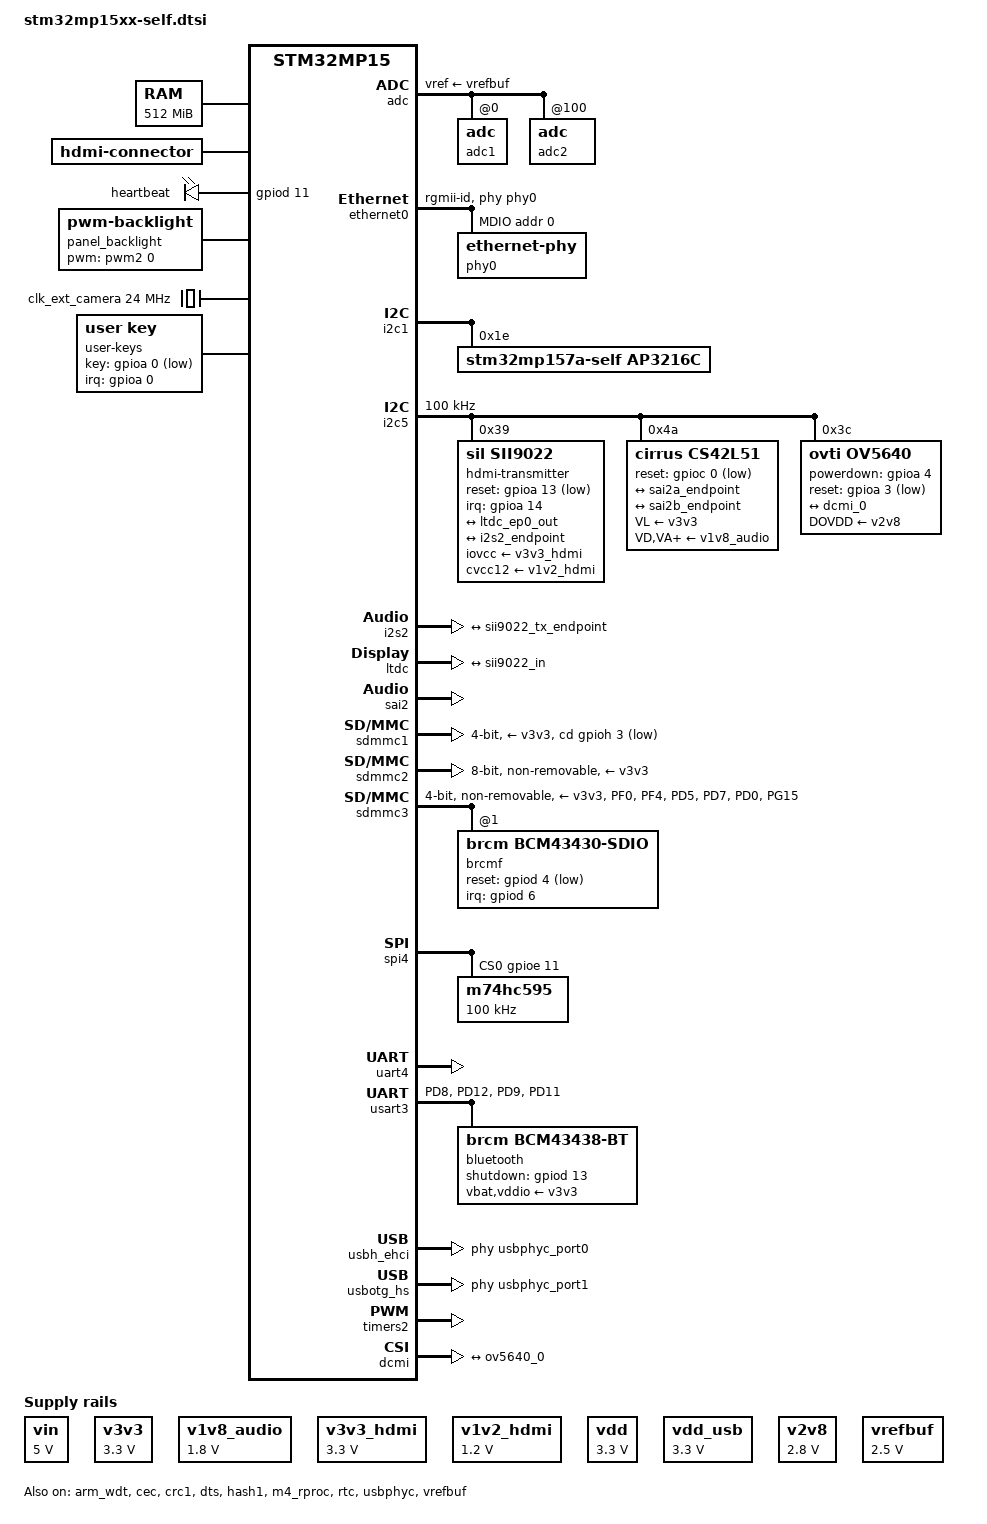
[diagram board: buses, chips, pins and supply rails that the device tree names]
// SPDX-License-Identifier: (GPL-2.0+ OR BSD-3-Clause)
/*
 * Copyright (C) STMicroelectronics 2019 - All Rights Reserved
 * Author: Alexandre Torgue <alexandre.torgue@st.com> for STMicroelectronics.
 */

#include <dt-bindings/gpio/gpio.h>
#include <dt-bindings/mfd/st,stpmic1.h>
#include "stm32mp15-m4-srm.dtsi"
#include "stm32mp15-m4-srm-pinctrl.dtsi"
#include <dt-bindings/rtc/rtc-stm32.h>
/ {
	aliases {
		ethernet0 = &ethernet0;
		serial0 = &uart4;
		serial1 = &usart3;
		serial2 = &uart7;
		serial5 = &usart3;
	};

	memory@c0000000 {
		device_type = "memory";
		reg = <0xc0000000 0x20000000>;
	};

	reserved-memory {
		#address-cells = <1>;
		#size-cells = <1>;
		ranges;

		mcuram2: mcuram2@10000000 {
			compatible = "shared-dma-pool";
			reg = <0x10000000 0x40000>;
			no-map;
		};

		vdev0vring0: vdev0vring0@10040000 {
			compatible = "shared-dma-pool";
			reg = <0x10040000 0x1000>;
			no-map;
		};

		vdev0vring1: vdev0vring1@10041000 {
			compatible = "shared-dma-pool";
			reg = <0x10041000 0x1000>;
			no-map;
		};

		vdev0buffer: vdev0buffer@10042000 {
			compatible = "shared-dma-pool";
			reg = <0x10042000 0x4000>;
			no-map;
		};

		mcu_rsc_table: mcu-rsc-table@10048000 {
			compatible = "shared-dma-pool";
			reg = <0x10048000 0x8000>;
			no-map;
		};

		mcuram: mcuram@30000000 {
			compatible = "shared-dma-pool";
			reg = <0x30000000 0x40000>;
			no-map;
		};

		retram: retram@38000000 {
			compatible = "shared-dma-pool";
			reg = <0x38000000 0x10000>;
			no-map;
		};

		gpu_reserved: gpu@d4000000 {
			reg = <0xd4000000 0x4000000>;
			no-map;
		};
	};

	hdmi: connector {
		compatible = "hdmi-connector";
		label = "hdmi";

		type = "a";
	};

	led {
		compatible = "gpio-leds";
		led-blue {
			label = "heartbeat";
			gpios = <&gpiod 11 GPIO_ACTIVE_HIGH>;
			linux,default-trigger = "heartbeat";
			default-state = "off";
		};
	};

	sound {
		compatible = "audio-graph-card";
		label = "STM32MP15-SELF";
		routing =
			"Playback" , "MCLK",
			"Capture" , "MCLK",
			"MICL" , "Mic Bias";
		dais = <&sai2a_port &sai2b_port &i2s2_port>;
		status = "okay";
	};

	usb_phy_tuning: usb-phy-tuning {
		st,hs-dc-level = <2>;
		st,fs-rftime-tuning;
		st,hs-rftime-reduction;
		st,hs-current-trim = <15>;
		st,hs-impedance-trim = <1>;
		st,squelch-level = <3>;
		st,hs-rx-offset = <2>;
		st,no-lsfs-sc;
	};

	vin: vin {
		compatible = "regulator-fixed";
		regulator-name = "vin";
		regulator-min-microvolt = <5000000>;
		regulator-max-microvolt = <5000000>;
		regulator-always-on;
	};

	v3v3: regulator-3p3v {
		compatible = "regulator-fixed";
		regulator-name = "v3v3";
		regulator-min-microvolt = <3300000>;
		regulator-max-microvolt = <3300000>;
		regulator-always-on;
		regulator-boot-on;
	};

	v1v8_audio: regulator-v1v8-audio {
		compatible = "regulator-fixed";
		regulator-name = "v1v8_audio";
		regulator-min-microvolt = <1800000>;
		regulator-max-microvolt = <1800000>;
		regulator-always-on;
		regulator-boot-on;
	};

	v3v3_hdmi: regulator-v3v3-hdmi {
   		compatible = "regulator-fixed";
   		regulator-name = "v3v3_hdmi";
   		regulator-min-microvolt = <3300000>;
   		regulator-max-microvolt = <3300000>;
   		regulator-always-on;
		regulator-boot-on;
	};

	v1v2_hdmi: regulator-v1v2-hdmi {
		compatible = "regulator-fixed";
		regulator-name = "v1v2_hdmi";
		regulator-min-microvolt = <1200000>;
		regulator-max-microvolt = <1200000>;
		regulator-always-on;
		regulator-boot-on;
	};

	vdd: regulator-vdd {
		compatible = "regulator-fixed";
		regulator-name = "vdd";
		regulator-min-microvolt = <3300000>;
		regulator-max-microvolt = <3300000>;
		regulator-always-on;
		regulator-boot-on;
	};

	vdd_usb: regulator-vdd-usb {
		compatible = "regulator-fixed";
		regulator-name = "vdd_usb";
		regulator-min-microvolt = <3300000>;
		regulator-max-microvolt = <3300000>;
		regulator-always-on;
		regulator-boot-on;
	};

	panel_backlight: panel-backlight {
		compatible = "pwm-backlight";
		pwms = <&pwm2 0 5000000>;
		brightness-levels = <0 4 8 16 32 64 128 255>;
		default-brightness-level = <6>;
		status = "okay";
	};

	v2v8: regulator-2p8v {
		compatible = "regulator-fixed";
		regulator-name = "v2v8";
		regulator-min-microvolt = <2800000>;
		regulator-max-microvolt = <2800000>;
		regulator-always-on;
		regulator-boot-on;
	};

	clocks {
		clk_ext_camera: clk-ext-camera {
			#clock-cells = <0>;
			compatible = "fixed-clock";
			clock-frequency = <24000000>;
		};
	};

	main-leds {
		compatible = "gpio-main-leds";

		led_1 {
			label = "led1";
			gpios = <&gpioz 5 GPIO_ACTIVE_HIGH>;
			default-state = "off";
		};

		led_2 {
			label = "led2";
			gpios = <&gpioz 6 GPIO_ACTIVE_HIGH>;
			default-state = "off";
		};

		led_3 {
			label = "led3";
			gpios = <&gpioz 7 GPIO_ACTIVE_HIGH>;
			default-state = "off";
		};
	};

	ext-leds {
		compatible = "gpio-ext-leds";

		led_4 {
			label = "led4";
			gpios = <&gpioe 10 GPIO_ACTIVE_HIGH>;
			default-state = "off";
		};

		led_5 {
			label = "led5";
			gpios = <&gpiof 10 GPIO_ACTIVE_HIGH>;
			default-state = "off";
		};

		led_6 {
			label = "led6";
			gpios = <&gpioe 8 GPIO_ACTIVE_HIGH>;
			default-state = "off";
		};
	};

	user-keys {
		compatible = "user key";
		status = "okay";
		
		key-gpio = <&gpioa 0 GPIO_ACTIVE_LOW>;
		interrupts-extended = <&gpioa 0 IRQ_TYPE_EDGE_BOTH>;
	};

};

&adc {
	pinctrl-names = "default";
	pinctrl-0 = <&adc12_usb_cc_pins_a>;
	vdd-supply = <&vdd>;
	vdda-supply = <&vdd>;
	vref-supply = <&vrefbuf>;
	status = "okay";
	adc1: adc@0 {
		status = "okay";
		/*
		 * Type-C USB_PWR_CC1 & USB_PWR_CC2 on in18 & in19.
		 * Use at least 5 * RC time, e.g. 5 * (Rp + Rd) * C:
		 * 5 * (56 + 47kOhms) * 5pF => 2.5us.
		 * Use arbitrary margin here (e.g. 5us).
		 */
		channel@18 {
			reg = <18>;
			st,min-sample-time-ns = <5000>;
		};
		channel@19 {
			reg = <19>;
			st,min-sample-time-ns = <5000>;
		};
	};

	adc2: adc@100 {
		status = "okay";
		/* USB Type-C CC1 & CC2 */
		channel@18 {
			reg = <18>;
			st,min-sample-time-ns = <5000>;
		};
		channel@19 {
			reg = <19>;
			st,min-sample-time-ns = <5000>;
		};
	};
};

&arm_wdt {
	timeout-sec = <32>;
	status = "okay";
};

&cec {
	pinctrl-names = "default", "sleep";
	pinctrl-0 = <&cec_pins_b>;
	pinctrl-1 = <&cec_sleep_pins_b>;
	status = "okay";
};

// &cpu0 {
// 	cpu-supply = <&vddcore>;
// };

// &cpu1 {
// 	cpu-supply = <&vddcore>;
// };

&crc1 {
	status = "okay";
};

&dts {
	status = "okay";
};

&ethernet0 {
	status = "okay";
	pinctrl-0 = <&ethernet0_rgmii_pins_a>;
	pinctrl-1 = <&ethernet0_rgmii_sleep_pins_a>;
	pinctrl-names = "default", "sleep";
	phy-mode = "rgmii-id";
	max-speed = <1000>;
	phy-handle = <&phy0>;
	// nvmem-cells = <&ethernet_mac_address>;
	// nvmem-cell-names = "mac-address";

	mdio {
		#address-cells = <1>;
		#size-cells = <0>;
		compatible = "snps,dwmac-mdio";
		phy0: ethernet-phy@0 {
			reg = <0>;
		};
	};
};

&gpu {
	contiguous-area = <&gpu_reserved>;
};

&hash1 {
	status = "okay";
};

&i2c1 {
	pinctrl-names = "default", "sleep";
	pinctrl-0 = <&i2c1_pins_b>;
	pinctrl-1 = <&i2c1_sleep_pins_b>;
	i2c-scl-rising-time-ns = <100>;
	i2c-scl-falling-time-ns = <7>;
	status = "okay";
	/delete-property/dmas;
	/delete-property/dma-names;

	ap3216c@1e {
		compatible = "stm32mp157a-self,ap3216c";
		reg = <0x1e>;
	};


};

// &i2c4 {
// 	pinctrl-names = "default", "sleep";
// 	pinctrl-0 = <&i2c4_pins_a>;
// 	pinctrl-1 = <&i2c4_sleep_pins_a>;
// 	i2c-scl-rising-time-ns = <185>;
// 	i2c-scl-falling-time-ns = <20>;
// 	clock-frequency = <400000>;
// 	status = "okay";
// 	/* spare dmas for other usage */
// 	/delete-property/dmas;
// 	/delete-property/dma-names;

// 	stusb1600@28 {
// 		compatible = "st,stusb1600";
// 		reg = <0x28>;
// 		interrupts = <11 IRQ_TYPE_LEVEL_LOW>;
// 		interrupt-parent = <&gpioi>;
// 		pinctrl-names = "default";
// 		pinctrl-0 = <&stusb1600_pins_a>;
// 		status = "okay";
// 		vdd-supply = <&vin>;

// 		connector {
// 			compatible = "usb-c-connector";
// 			label = "USB-C";
// 			power-role = "dual";
// 			typec-power-opmode = "default";

// 			port {
// 				con_usbotg_hs_ep: endpoint {
// 					remote-endpoint = <&usbotg_hs_ep>;
// 				};
// 			};
// 		};
// 	};

// 	pmic: stpmic@33 {
// 		compatible = "st,stpmic1";
// 		reg = <0x33>;
// 		interrupts-extended = <&exti 55 IRQ_TYPE_EDGE_FALLING>;
// 		interrupt-controller;
// 		#interrupt-cells = <2>;
// 		status = "okay";

// 		regulators {
// 			compatible = "st,stpmic1-regulators";
// 			buck1-supply = <&vin>;
// 			buck2-supply = <&vin>;
// 			buck3-supply = <&vin>;
// 			buck4-supply = <&vin>;
// 			ldo1-supply = <&v3v3>;
// 			ldo2-supply = <&vin>;
// 			ldo3-supply = <&vdd_ddr>;
// 			ldo4-supply = <&vin>;
// 			ldo5-supply = <&vin>;
// 			ldo6-supply = <&v3v3>;
// 			vref_ddr-supply = <&vin>;
// 			boost-supply = <&vin>;
// 			pwr_sw1-supply = <&bst_out>;
// 			pwr_sw2-supply = <&bst_out>;

// 			vddcore: buck1 {
// 				regulator-name = "vddcore";
// 				regulator-min-microvolt = <1200000>;
// 				regulator-max-microvolt = <1350000>;
// 				regulator-always-on;
// 				regulator-initial-mode = <0>;
// 				regulator-over-current-protection;
// 			};

// 			vdd_ddr: buck2 {
// 				regulator-name = "vdd_ddr";
// 				regulator-min-microvolt = <1350000>;
// 				regulator-max-microvolt = <1350000>;
// 				regulator-always-on;
// 				regulator-initial-mode = <0>;
// 				regulator-over-current-protection;
// 			};

// 			vdd: buck3 {
// 				regulator-name = "vdd";
// 				regulator-min-microvolt = <3300000>;
// 				regulator-max-microvolt = <3300000>;
// 				regulator-always-on;
// 				st,mask-reset;
// 				regulator-initial-mode = <0>;
// 				regulator-over-current-protection;
// 			};

// 			v3v3: buck4 {
// 				regulator-name = "v3v3";
// 				regulator-min-microvolt = <3300000>;
// 				regulator-max-microvolt = <3300000>;
// 				regulator-always-on;
// 				regulator-over-current-protection;
// 				regulator-initial-mode = <0>;
// 			};

// 			v1v8_audio: ldo1 {
// 				regulator-name = "v1v8_audio";
// 				regulator-min-microvolt = <1800000>;
// 				regulator-max-microvolt = <1800000>;
// 				regulator-always-on;
// 				interrupts = <IT_CURLIM_LDO1 0>;
// 			};

// 			v3v3_hdmi: ldo2 {
// 				regulator-name = "v3v3_hdmi";
// 				regulator-min-microvolt = <3300000>;
// 				regulator-max-microvolt = <3300000>;
// 				regulator-always-on;
// 				interrupts = <IT_CURLIM_LDO2 0>;
// 			};

// 			vtt_ddr: ldo3 {
// 				regulator-name = "vtt_ddr";
// 				regulator-min-microvolt = <500000>;
// 				regulator-max-microvolt = <750000>;
// 				regulator-always-on;
// 				regulator-over-current-protection;
// 			};

// 			vdd_usb: ldo4 {
// 				regulator-name = "vdd_usb";
// 				interrupts = <IT_CURLIM_LDO4 0>;
// 			};

// 			vdda: ldo5 {
// 				regulator-name = "vdda";
// 				regulator-min-microvolt = <2900000>;
// 				regulator-max-microvolt = <2900000>;
// 				interrupts = <IT_CURLIM_LDO5 0>;
// 				regulator-boot-on;
// 			};

// 			v1v2_hdmi: ldo6 {
// 				regulator-name = "v1v2_hdmi";
// 				regulator-min-microvolt = <1200000>;
// 				regulator-max-microvolt = <1200000>;
// 				regulator-always-on;
// 				interrupts = <IT_CURLIM_LDO6 0>;
// 			};

// 			vref_ddr: vref-ddr {
// 				regulator-name = "vref_ddr";
// 				regulator-always-on;
// 			};

// 			bst_out: boost {
// 				regulator-name = "bst_out";
// 				interrupts = <IT_OCP_BOOST 0>;
// 			};

// 			vbus_otg: pwr-sw1 {
// 				regulator-name = "vbus_otg";
// 				interrupts = <IT_OCP_OTG 0>;
// 			};

// 			vbus_sw: pwr-sw2 {
// 				regulator-name = "vbus_sw";
// 				interrupts = <IT_OCP_SWOUT 0>;
// 				regulator-active-discharge = <1>;
// 			};
// 		};

// 		onkey {
// 			compatible = "st,stpmic1-onkey";
// 			interrupts = <IT_PONKEY_F 0>, <IT_PONKEY_R 0>;
// 			interrupt-names = "onkey-falling", "onkey-rising";
// 			power-off-time-sec = <10>;
// 			status = "okay";
// 		};

// 		watchdog {
// 			compatible = "st,stpmic1-wdt";
// 			status = "disabled";
// 		};
// 	};
// };

&i2c5 {
	pinctrl-names = "default", "sleep";
	pinctrl-0 = <&i2c5_pins_a>;
	pinctrl-1 = <&i2c5_sleep_pins_a>;
	i2c-scl-rising-time-ns = <100>;
	i2c-scl-falling-time-ns = <7>;
	clock-frequency = <100000>;
	/* spare dmas for other usage */
	/delete-property/dmas;
	/delete-property/dma-names;
	status = "okay";
	hdmi-transmitter@39 {
		compatible = "sil,sii9022";
		reg = <0x39>;
		iovcc-supply = <&v3v3_hdmi>;
		cvcc12-supply = <&v1v2_hdmi>;
		reset-gpios = <&gpioa 13 GPIO_ACTIVE_LOW>;
		interrupts = <14 IRQ_TYPE_EDGE_FALLING>;
		interrupt-parent = <&gpioa>;
		#sound-dai-cells = <0>;
		status = "okay";
		ports {
			#address-cells = <1>;
			#size-cells = <0>;

			port@0 {
				reg = <0>;
				sii9022_in: endpoint {
					/*视频输入端口，与 LTDC 输出端口对接*/
					remote-endpoint = <&ltdc_ep0_out>;
				};
			};

			port@3 {
				reg = <3>;
				sii9022_tx_endpoint: endpoint {
					/*音频输入端口，与声卡输出端口对接*/
					remote-endpoint = <&i2s2_endpoint>;
				};
			};

		};
	};

	cs42l51: cs42l51@4a {
		compatible = "cirrus,cs42l51";
		reg = <0x4a>;
		#sound-dai-cells = <0>;
		VL-supply = <&v3v3>;
		VD-supply = <&v1v8_audio>;
		VA-supply = <&v1v8_audio>;
		VAHP-supply = <&v1v8_audio>;
		reset-gpios = <&gpioc 0 GPIO_ACTIVE_LOW>;
		clocks = <&sai2a>;
		clock-names = "MCLK";
		status = "okay";
		cs42l51_port: port {
			#address-cells = <1>;
			#size-cells = <0>;
			cs42l51_tx_endpoint: endpoint@0 {
				reg = <0>;
				remote-endpoint = <&sai2a_endpoint>;
				frame-master;
				bitclock-master;
			};
			cs42l51_rx_endpoint: endpoint@1 {
				reg = <1>;
				remote-endpoint = <&sai2b_endpoint>;
				frame-master;
				bitclock-master;
			};
		};
	};

	ov5640: camera@3c {
		compatible = "ovti,ov5640";
		reg = <0x3c>;
		clocks = <&clk_ext_camera>;
		clock-names = "xclk";
		DOVDD-supply = <&v2v8>;
		powerdown-gpios = <&gpioa 4 (GPIO_ACTIVE_HIGH | GPIO_PUSH_PULL)>;
		reset-gpios = <&gpioa 3 (GPIO_ACTIVE_LOW | GPIO_PUSH_PULL)>;
		rotation = <180>;
		status = "okay";
		port {
			ov5640_0: endpoint {
				remote-endpoint = <&dcmi_0>;
				bus-width = <8>;
				data-shift = <2>; /* lines 9:2 are used */
				hsync-active = <0>;
				vsync-active = <0>;
				pclk-sample = <1>;
				pclk-max-frequency = <77000000>;
			};
		};
	};
};

&i2s2 {
	clocks = <&rcc SPI2>, <&rcc SPI2_K>, <&rcc PLL3_Q>, <&rcc PLL3_R>;
	clock-names = "pclk", "i2sclk", "x8k", "x11k";
	pinctrl-names = "default", "sleep";
	pinctrl-0 = <&i2s2_pins_a>;
	pinctrl-1 = <&i2s2_sleep_pins_a>;
	status = "okay";

	i2s2_port: port {
		i2s2_endpoint: endpoint {
			remote-endpoint = <&sii9022_tx_endpoint>;
			dai-format = "i2s";
			mclk-fs = <256>;
		};
	};
};

&ipcc {
	status = "okay";
};

&ltdc {
	pinctrl-names = "default", "sleep";
	pinctrl-0 = <&ltdc_pins_b>;
	pinctrl-1 = <&ltdc_sleep_pins_b>;
	status = "okay";
	port {
		#address-cells = <1>;
		#size-cells = <0>;
		
		ltdc_ep0_out: endpoint@0 {
			reg = <0>;
			remote-endpoint = <&sii9022_in>;
		};
	};
};

&m4_rproc {
	memory-region = <&retram>, <&mcuram>, <&mcuram2>, <&vdev0vring0>,
			<&vdev0vring1>, <&vdev0buffer>, <&mcu_rsc_table>;
	mboxes = <&ipcc 0>, <&ipcc 1>, <&ipcc 2>, <&ipcc 3>;
	mbox-names = "vq0", "vq1", "shutdown", "detach";
	interrupt-parent = <&exti>;
	interrupts = <68 1>;
	wakeup-source;
	status = "okay";
};

&pwr_regulators {
	vdd-supply = <&vdd>;
	vdd_3v3_usbfs-supply = <&vdd_usb>;
};

&rtc {
	st,lsco = <RTC_OUT2_RMP>;
	pinctrl-0 = <&rtc_out2_rmp_pins_a>;
	pinctrl-names = "default";
	status = "okay";
};

&sai2 {
	clocks = <&rcc SAI2>, <&rcc PLL3_Q>, <&rcc PLL3_R>;
	clock-names = "pclk", "x8k", "x11k";
	pinctrl-names = "default", "sleep";
	pinctrl-0 = <&sai2a_pins_a>, <&sai2b_pins_b>;
	pinctrl-1 = <&sai2a_sleep_pins_a>, <&sai2b_sleep_pins_b>;
	status = "okay";

	sai2a: audio-controller@4400b004 {
		#clock-cells = <0>;
		dma-names = "tx";
		status = "okay";

		sai2a_port: port {
			sai2a_endpoint: endpoint {
				remote-endpoint = <&cs42l51_tx_endpoint>;
				format = "i2s";
				mclk-fs = <256>;
				dai-tdm-slot-num = <2>;
				dai-tdm-slot-width = <32>;
			};
		};
	};

	sai2b: audio-controller@4400b024 {
		dma-names = "rx";
		st,sync = <&sai2a 2>;
		clocks = <&rcc SAI2_K>, <&sai2a>;
		clock-names = "sai_ck", "MCLK";
		status = "okay";

		sai2b_port: port {
			sai2b_endpoint: endpoint {
				remote-endpoint = <&cs42l51_rx_endpoint>;
				format = "i2s";
				mclk-fs = <256>;
				dai-tdm-slot-num = <2>;
				dai-tdm-slot-width = <32>;
			};
		};
	};
};

&sdmmc1 {
	pinctrl-names = "default", "opendrain", "sleep";
	pinctrl-0 = <&sdmmc1_b4_pins_a>;
	pinctrl-1 = <&sdmmc1_b4_od_pins_a>;
	pinctrl-2 = <&sdmmc1_b4_sleep_pins_a>;
	cd-gpios = <&gpioh 3 (GPIO_ACTIVE_LOW | GPIO_PULL_UP)>;
	disable-wp;
	st,neg-edge;
	bus-width = <4>;
	vmmc-supply = <&v3v3>;
	status = "okay";
};

&sdmmc2 {
	pinctrl-names = "default", "opendrain", "sleep";
	pinctrl-0 = <&sdmmc2_b4_pins_a &sdmmc2_d47_pins_a>;
	pinctrl-1 = <&sdmmc2_b4_od_pins_a &sdmmc2_d47_pins_a>;
	pinctrl-2 = <&sdmmc2_b4_sleep_pins_a &sdmmc2_d47_sleep_pins_a>;
	non-removable;
	no-sd;
	no-sdio;
	st,neg-edge;
	bus-width = <8>;
	vmmc-supply = <&v3v3>;
	vqmmc-supply = <&vdd>;
	mmc-ddr-3_3v;
	status = "okay";
};

&gpiod {
    wifi_host_wake_irq: wifi_host_wake_irq {
        pins = "PD6";
        function = "gpio";
        bias-pull-up;
    };
};

&sdmmc3 {
	arm,primecell-periphid = <0x10153180>;
	pinctrl-names = "default", "opendrain", "sleep";
	pinctrl-0 = <&sdmmc3_b4_wifi_pins_a>;
	pinctrl-1 = <&sdmmc3_b4_od_wifi_pins_a>;
	pinctrl-2 = <&sdmmc3_b4_sleep_wifi_pins_a>;
	non-removable;
	st,neg-edge;
	bus-width = <4>;
	vmmc-supply = <&v3v3>;
	#address-cells = <1>;
	#size-cells = <0>;
	keep-power-in-suspend;
	status = "okay";

	brcmf: wifi@1 {
        compatible = "brcm,bcm43430-sdio", "brcm,bcm4329-fmac";
		reg = <1>;
        interrupt-parent = <&gpiod>;
        interrupts = <6 IRQ_TYPE_EDGE_RISING>;
        interrupt-names = "host-wake";
		reset-gpios = <&gpiod 4 GPIO_ACTIVE_LOW>;
    };
};

&spi4 {
	pinctrl-names = "default", "sleep";
	pinctrl-0 = <&spi4_pins_a>;
	cs-gpios = <&gpioe 11 0>;
	status = "okay";

	m74hc595: m74hc595@0 {
		compatible = "m74hc595";
		reg = <0>;
		spi-max-frequency = <100000>;
	};
};

&spi5 {
	pinctrl-names = "default", "sleep";
	pinctrl-0 = <&spi5_pins_a>;
	pinctrl-1 = <&spi5_sleep_pins_a>;
	status = "disabled";
};

&timers1 {
	/* spare dmas for other usage */
	/delete-property/dmas;
	/delete-property/dma-names;
	status = "disabled";
	counter {
		status = "okay";
	};
	pwm {
		pinctrl-0 = <&pwm1_pins_a>;
		pinctrl-1 = <&pwm1_sleep_pins_a>;
		pinctrl-names = "default", "sleep";
		status = "okay";
	};
	timer@0 {
		status = "okay";
	};
};

&timers3 {
	/delete-property/dmas;
	/delete-property/dma-names;
	status = "disabled";
	counter {
		status = "okay";
	};
	pwm {
		pinctrl-0 = <&pwm3_pins_a>;
		pinctrl-1 = <&pwm3_sleep_pins_a>;
		pinctrl-names = "default", "sleep";
		status = "okay";
	};
	timer@2 {
		status = "okay";
	};
};

&timers4 {
	/delete-property/dmas;
	/delete-property/dma-names;
	status = "disabled";
	counter {
		status = "okay";
	};
	pwm {
		pinctrl-0 = <&pwm4_pins_a &pwm4_pins_b>;
		pinctrl-1 = <&pwm4_sleep_pins_a &pwm4_sleep_pins_b>;
		pinctrl-names = "default", "sleep";
		status = "okay";
	};
	timer@3 {
		status = "okay";
	};
};

&timers5 {
	/delete-property/dmas;
	/delete-property/dma-names;
	status = "disabled";
	counter {
		status = "okay";
	};
	pwm {
		pinctrl-0 = <&pwm5_pins_a>;
		pinctrl-1 = <&pwm5_sleep_pins_a>;
		pinctrl-names = "default", "sleep";
		status = "okay";
	};
	timer@4 {
		status = "okay";
	};
};

&timers6 {
	/delete-property/dmas;
	/delete-property/dma-names;
	status = "disabled";
	counter {
		status = "okay";
	};
	timer@5 {
		status = "okay";
	};
};

&timers12 {
	/delete-property/dmas;
	/delete-property/dma-names;
	status = "disabled";
	counter {
		status = "okay";
	};
	pwm {
		pinctrl-0 = <&pwm12_pins_a>;
		pinctrl-1 = <&pwm12_sleep_pins_a>;
		pinctrl-names = "default", "sleep";
		status = "okay";
	};
	timer@11 {
		status = "okay";
	};
};

&uart4 {
	pinctrl-names = "default", "sleep", "idle";
	pinctrl-0 = <&uart4_pins_a>;
	pinctrl-1 = <&uart4_sleep_pins_a>;
	pinctrl-2 = <&uart4_idle_pins_a>;
	/delete-property/dmas;
	/delete-property/dma-names;
	status = "okay";
};

&uart7 {
	pinctrl-names = "default", "sleep", "idle";
	pinctrl-0 = <&uart7_pins_c>;
	pinctrl-1 = <&uart7_sleep_pins_c>;
	pinctrl-2 = <&uart7_idle_pins_c>;
	/delete-property/dmas;
	/delete-property/dma-names;
	status = "disabled";
};

&usart3 {
    pinctrl-names = "default", "sleep", "idle";
    pinctrl-0 = <&usart3_pins_bt>;
    pinctrl-1 = <&usart3_idle_pins_bt>;
    pinctrl-2 = <&usart3_sleep_pins_bt>;
    uart-has-rtscts; 
    status = "okay";
        
    bluetooth {
		shutdown-gpios = <&gpiod 13 GPIO_ACTIVE_HIGH>;
		compatible = "brcm,bcm43438-bt";
		max-speed = <3000000>;
		vbat-supply = <&v3v3>;
		vddio-supply = <&v3v3>;
	};
};

&usbh_ehci {
	phys = <&usbphyc_port0>;
	status = "okay";
	// #address-cells = <1>;
	// #size-cells = <0>;
	// /* onboard HUB */
	// hub@1 {
	// 	compatible = "usb424,2514";
	// 	reg = <1>;
	// 	vdd-supply = <&v3v3>;
	// };
};

&usbotg_hs {
	phys = <&usbphyc_port1 0>;
	phy-names = "usb2-phy";
	usb-role-switch;
	status = "okay";
};

&usbphyc {
	status = "okay";
};

&usbphyc_port0 {
	phy-supply = <&vdd_usb>;
	st,phy-tuning = <&usb_phy_tuning>;
};

&usbphyc_port1 {
	phy-supply = <&vdd_usb>;
	st,phy-tuning = <&usb_phy_tuning>;
};

&vrefbuf {
	regulator-min-microvolt = <2500000>;
	regulator-max-microvolt = <2500000>;
	vdda-supply = <&vdd>;
	status = "okay";
};

&timers2 {
	/* spare dmas for other usage */
	/delete-property/dmas;
	/delete-property/dma-names;
	status = "okay";
	pwm2: pwm {
		pinctrl-0 = <&pwm2_pins_b>;
		pinctrl-1 = <&pwm2_sleep_pins_b>;
		pinctrl-names = "default", "sleep";
		#pwm-cells = <2>;
		status = "okay";
	};

	timer@2 {
		status = "disabled";
	};
};

&pinctrl {
	pwm2_pins_b: pwm2-0 {
		pins {
			pinmux = <STM32_PINMUX('A', 5, AF1)>; /* TIM2_CH1 */
			bias-pull-down;
			drive-push-pull;
			slew-rate = <0>;
		};
	};

	pwm2_sleep_pins_b: pwm1-sleep-0 {
		pins {
			pinmux = <STM32_PINMUX('A', 5, ANALOG)>; /* TIM2_CH1 */
		};
	};

	usart3_pins_bt: usart3-bt-0 {
		pins1 {
			pinmux = <STM32_PINMUX('D', 8, AF7)>, /* USART3_TX */
			<STM32_PINMUX('D', 12, AF7)>; /* USART3_RTS */
			bias-disable;
			drive-push-pull;
			slew-rate = <0>;
		};
		pins2 {
			pinmux = <STM32_PINMUX('D', 9, AF7)>, /* USART3_RX */
			<STM32_PINMUX('D', 11, AF7)>; /* USART3_CTS_NSS */
			bias-disable;
		}; 
	};

	usart3_idle_pins_bt: usart3-idle-bt-0 {
		pins1 {
			pinmux = <STM32_PINMUX('D', 8, ANALOG)>, /* USART3_TX */
			<STM32_PINMUX('D', 12, ANALOG)>, /* USART3_RTS */
			<STM32_PINMUX('D', 11, ANALOG)>; /* USART3_CTS_NSS */
		};
		pins2 {
			pinmux = <STM32_PINMUX('D', 9, AF7)>; /* USART3_RX */
			bias-disable;
		};
	};

	usart3_sleep_pins_bt: usart3-sleep-bt-0 {
		pins {
			pinmux = <STM32_PINMUX('D', 8, ANALOG)>, /* USART3_TX */
			<STM32_PINMUX('D', 12, ANALOG)>, /* USART3_RTS */
			<STM32_PINMUX('D', 11, ANALOG)>, /* USART3_CTS_NSS */
			<STM32_PINMUX('D', 9, ANALOG)>; /* USART3_RX */
		};
	};

	sdmmc3_b4_wifi_pins_a: sdmmc3-b4-wifi-0 {
		pins1 {
			pinmux = <STM32_PINMUX('F', 0, AF9)>, /* SDMMC3_D0 */
			<STM32_PINMUX('F', 4, AF9)>, /* SDMMC3_D1 */
			<STM32_PINMUX('D', 5, AF10)>, /* SDMMC3_D2 */
			<STM32_PINMUX('D', 7, AF10)>, /* SDMMC3_D3 */
			<STM32_PINMUX('D', 0, AF10)>; /* SDMMC3_CMD */
			slew-rate = <1>;
			drive-push-pull;
			bias-pull-up;
		};

		pins2 {
			pinmux = <STM32_PINMUX('G', 15, AF10)>; /* SDMMC3_CK */
			slew-rate = <2>;
			drive-push-pull;
			bias-pull-up;
		};
	};

	sdmmc3_b4_od_wifi_pins_a: sdmmc3-b4-od-wifi-0 {
		pins1 {
			pinmux = <STM32_PINMUX('F', 0, AF9)>, /* SDMMC3_D0 */
			<STM32_PINMUX('F', 4, AF9)>, /* SDMMC3_D1 */
			<STM32_PINMUX('D', 5, AF10)>, /* SDMMC3_D2 */
			<STM32_PINMUX('D', 7, AF10)>; /* SDMMC3_D3 */
			slew-rate = <1>;
			drive-push-pull;
			bias-pull-up;
		};

		pins2 {
			pinmux = <STM32_PINMUX('G', 15, AF10)>; /* SDMMC3_CK */
			slew-rate = <2>;
			drive-push-pull;
			bias-pull-up;
		};
		
		pins3 {
			pinmux = <STM32_PINMUX('D', 0, AF10)>; /* SDMMC2_CMD */
			slew-rate = <1>;
			drive-open-drain;
			bias-pull-up;
		};
	};

	sdmmc3_b4_sleep_wifi_pins_a: sdmmc3-b4-sleep-wifi-0 {
		pins {
			pinmux = <STM32_PINMUX('F', 0, ANALOG)>, /* SDMMC3_D0 */
			<STM32_PINMUX('F', 4, ANALOG)>, /* SDMMC3_D1 */
			<STM32_PINMUX('D', 5, ANALOG)>, /* SDMMC3_D2 */
			<STM32_PINMUX('D', 7, ANALOG)>, /* SDMMC3_D3 */
			<STM32_PINMUX('G', 15, ANALOG)>, /* SDMMC3_CK */
			<STM32_PINMUX('D', 0, ANALOG)>; /* SDMMC3_CMD */
		};
	};
};

&sai2 {
	clocks = <&rcc SAI2>, <&rcc PLL3_Q>, <&rcc PLL3_R>;
	clock-names = "pclk", "x8k", "x11k";
	pinctrl-names = "default", "sleep";
	pinctrl-0 = <&sai2a_pins_a>, <&sai2b_pins_b>;
	pinctrl-1 = <&sai2a_sleep_pins_a>, <&sai2b_sleep_pins_b>;
	status = "okay";
	sai2a: audio-controller@4400b004 {
		#clock-cells = <0>;
		dma-names = "tx";
		clocks = <&rcc SAI2_K>;
		clock-names = "sai_ck";
		status = "okay";
		sai2a_port: port {
			sai2a_endpoint: endpoint {
				remote-endpoint = <&cs42l51_tx_endpoint>;
				format = "i2s";
				mclk-fs = <256>;
				dai-tdm-slot-num = <2>;
				dai-tdm-slot-width = <32>;
			};
		};
	};

	sai2b: audio-controller@4400b024 {
		dma-names = "rx";
		st,sync = <&sai2a 2>;
		clocks = <&rcc SAI2_K>, <&sai2a>;
		clock-names = "sai_ck", "MCLK";
		status = "okay";
		sai2b_port: port {
			sai2b_endpoint: endpoint {
				remote-endpoint = <&cs42l51_rx_endpoint>;
				format = "i2s";
				mclk-fs = <256>;
				dai-tdm-slot-num = <2>;
				dai-tdm-slot-width = <32>;
			};
		};
	};
};

&dcmi {
	status = "okay";
	pinctrl-names = "default", "sleep";
	pinctrl-0 = <&dcmi_pins_a>;
	pinctrl-1 = <&dcmi_sleep_pins_a>;
	port {
	dcmi_0: endpoint {
			remote-endpoint = <&ov5640_0>;
			bus-width = <8>;
			hsync-active = <0>;
			vsync-active = <0>;
			pclk-sample = <1>;
			pclk-max-frequency = <77000000>;
		};
	};
};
